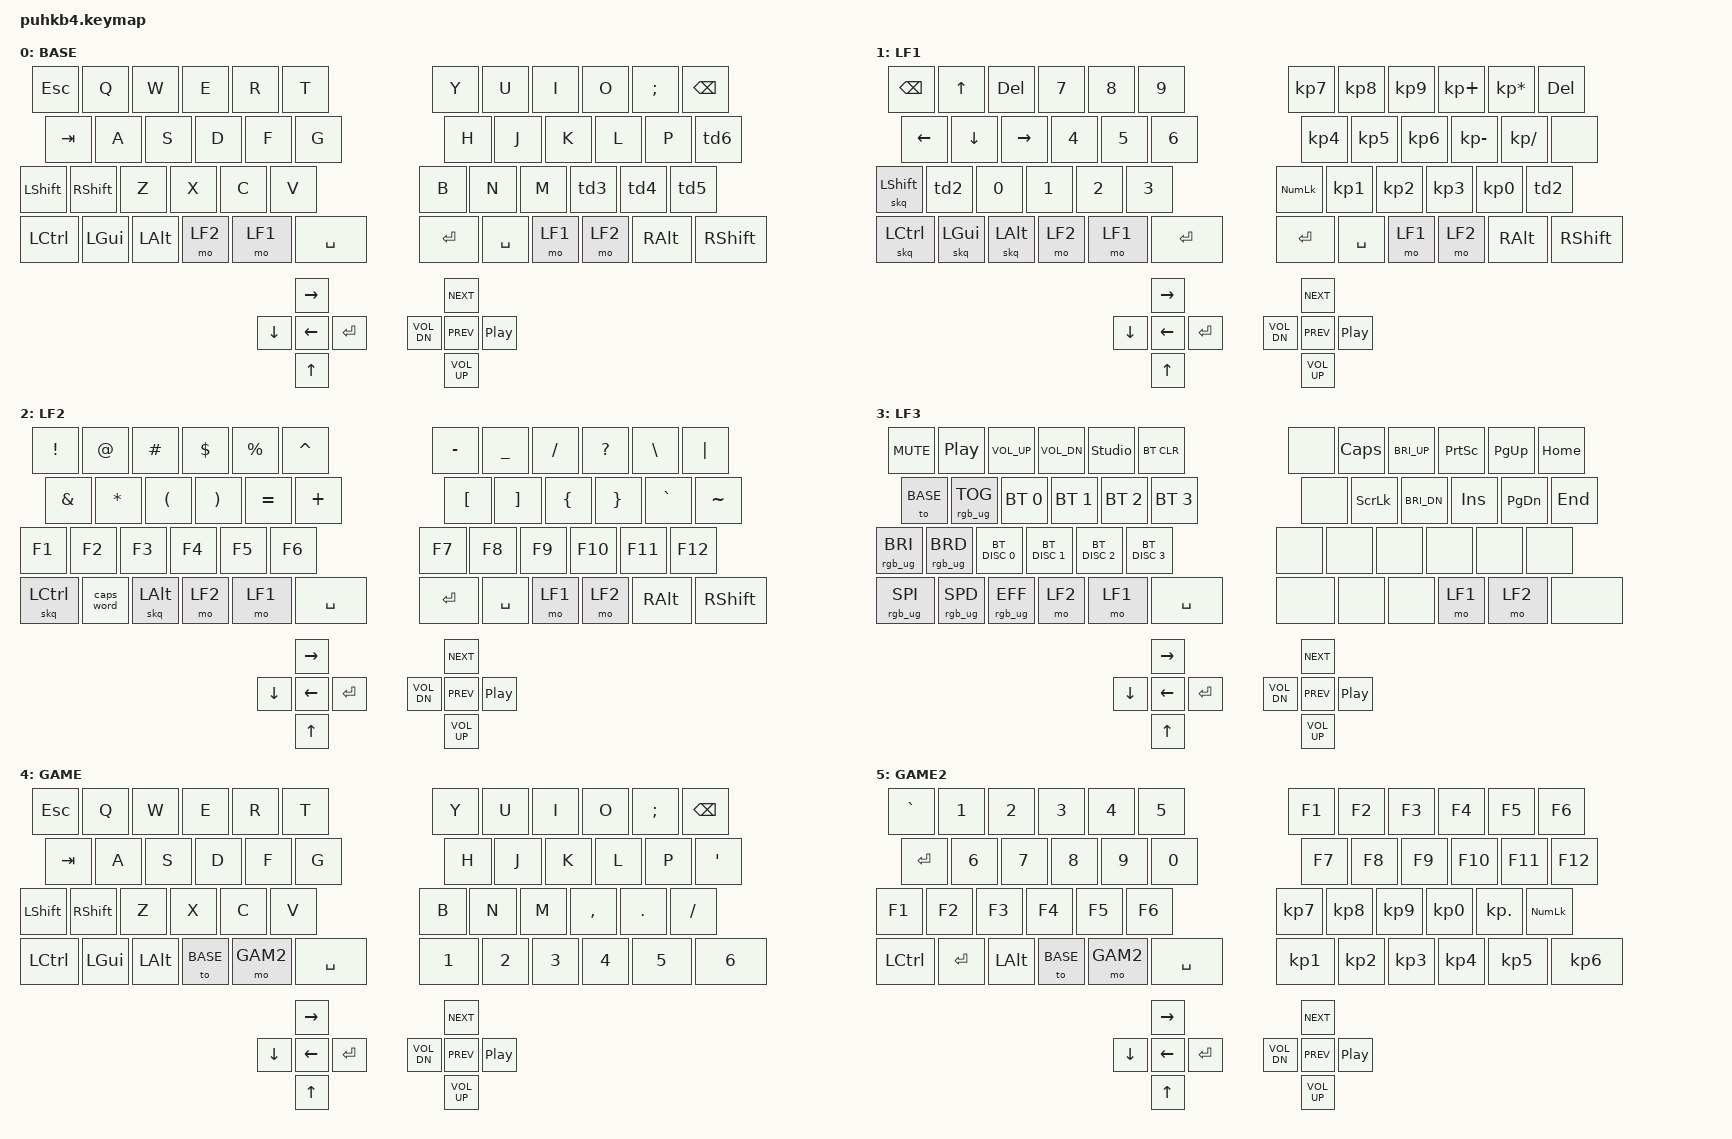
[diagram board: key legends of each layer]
/*
 * Copyright (c) 2020 The ZMK Contributors
 *
 * SPDX-License-Identifier: MIT
 */

#include <behaviors.dtsi>
#include <dt-bindings/zmk/keys.h>
#include <dt-bindings/zmk/bt.h>
#include <dt-bindings/zmk/outputs.h>
#include <dt-bindings/zmk/rgb.h>
#include <dt-bindings/zmk/ext_power.h>

&led_strip {
    chain-length = <23>;
};

#define BASE 0
#define LF1 1
#define LF2 2
#define LF3 3
#define LF4 4
#define RF1 5
#define RF2 6
#define RF3 7
#define RF4 8
#define GAM 9
#define GAM2 10

/ {

	conditional_layers {
		compatible = "zmk,conditional-layers";
		lf3_layer {
			if-layers = <LF1 LF2>;
			then-layer = <LF3>;
		};
		rf3_layer {
			if-layers = <RF1 RF2>;
			then-layer = <RF3>;
        };
    };
    
	behaviors {
		td0: tap_dance_0 {
            		compatible = "zmk,behavior-tap-dance";
            		#binding-cells = <0>;
			tapping-term-ms = <500>;
            		bindings = <&kp KP_PLUS>, <&kp KP_MULTIPLY>;
        	};
        td1: tap_dance_1 {
            		compatible = "zmk,behavior-tap-dance";
            		#binding-cells = <0>;
            		tapping-term-ms = <500>;
            		bindings = <&kp KP_MINUS>, <&kp KP_DIVIDE>;
        	};
		td2: tap_dance_2 {
            		compatible = "zmk,behavior-tap-dance";
            		#binding-cells = <0>;
            		tapping-term-ms = <500>;
            		bindings = <&kp KP_DOT>, <&kp COMMA>;
        	};
		td3: tap_dance_3 {
            		compatible = "zmk,behavior-tap-dance";
            		#binding-cells = <0>;
            		tapping-term-ms = <300>;
            		bindings = <&kp COMMA>, <&kp LBKT>;
        	};
		td4: tap_dance_4 {
            		compatible = "zmk,behavior-tap-dance";
            		#binding-cells = <0>;
            		tapping-term-ms = <300>;
            		bindings = <&kp DOT>, <&kp RBKT>;
        	};
		td5: tap_dance_5 {
            		compatible = "zmk,behavior-tap-dance";
            		#binding-cells = <0>;
            		tapping-term-ms = <300>;
            		bindings = <&kp FSLH>, <&kp BSLH>;
        	};
		td6: tap_dance_6 {
            		compatible = "zmk,behavior-tap-dance";
            		#binding-cells = <0>;
            		tapping-term-ms = <300>;
            		bindings = <&kp SQT>, <&kp GRAVE>;
        	};
        skq: sticky_key_quick_release {
        		compatible = "zmk,behavior-sticky-key";
        		#binding-cells = <1>;
        		bindings = <&kp>;
        		release-after-ms = <3000>;
        		quick-release;
        		ignore-modifiers;
      		};
    };
    
	keymap {
		compatible = "zmk,keymap";
        
		default_layer {
			display-name = "BASE";
// * BASE
// * |-------------------------------------------|       |-------------------------------------------|
// *   | ESC  |   Q  |   W  |   E  |   R  |   T  |         |   Y  |   U  |   I  |   O  |  ;:  | BSP  |
// * |---------------------------------------------|     |---------------------------------------------|
// *     | TAB  |   A  |   S  |   D  |   F  |   G  |         |   H  |   J  |   K  |   L  |  P   | '"`~ |
// * |---------------------------------------------|     |---------------------------------------------|
// * |LShift|RShift|   Z  |   X  |   C  |   V  |         |  B   |   N  |   M  | ,<[{ | .>]} | /?\| |
// * |-----------------------------------------|         |-----------------------------------------|
// * |LCTRL | LGUI | LAlt | LF2  | LF1  | SPC  |         |Enter |Space |  RF1 | RF2  | RAlt |RShift|
// * |-----------------------------------------|         |-----------------------------------------|
// * |xxxxxx| DOWN | RIGH | PUSH | LEFT | UP   |         |xxxxxx| VOL- | NEXT | PLAY | BACK | VOL+ |
// * |-----------------------------------------|         |-----------------------------------------|
// */
            bindings = <
&kp ESC   &kp Q     &kp W     &kp E    &kp R     &kp T       &kp Y     &kp U        &kp I      &kp O        &kp SEMI   &kp BSPC
&kp TAB   &kp A     &kp S     &kp D    &kp F     &kp G       &kp H     &kp J        &kp K      &kp L        &kp P      &td6
&kp LSHFT &kp RSHFT &kp Z     &kp X    &kp C     &kp V       &kp B     &kp N        &kp M      &td3         &td4       &td5
&kp LCTRL &kp LGUI  &kp LALT  &mo LF2  &mo LF1   &kp SPACE   &kp RET   &kp SPACE    &mo LF1    &mo LF2      &kp RALT   &kp RSHFT
          &kp UP    &kp RET   &kp LEFT &kp DOWN  &kp RIGHT             &kp C_VOL_UP &kp C_PP  &kp C_PREV &kp C_VOL_DN &kp C_NEXT
            >;
        };

		lf1_layer {
			display-name = "LF1";
// * LF1
// * |-------------------------------------------|       |-------------------------------------------|
// *   | BSP  |  UP  | DEL  |   7  |   8  |   9  |         |  N7  |  N8  |  N9  |  N+  |  N*  | DEL  |
// * |---------------------------------------------|     |---------------------------------------------|
// *     | LEF  |  DOW |  RIG |   4  |   5  |   6  |         |  N4  |  N5  |  N6  |  N-  |  N/  |xxxxxx|
// * |---------------------------------------------|     |---------------------------------------------|
// * |LShift|  TD2 |   0  |   1  |   2  |   3  |         |  NUM |  N1  |  N2  |  N3  |  N0  | TD2  |
// * |-----------------------------------------|         |-----------------------------------------|
// * |LCTRL | LGUI | LAlt | LF2  | LF1  | SPC  |         |Enter |Space |  RF1 | RF2  | RAlt |RShift|
// * |-----------------------------------------|         |-----------------------------------------|
// * |xxxxxx| DOWN | RIGH | PUSH | LEFT | UP   |         |xxxxxx| DOWN | RIGH | PUSH | LEFT | UP   |
// * |-----------------------------------------|         |-----------------------------------------|
// */
            bindings = <
&kp BSPC   &kp UP    &kp DEL   &kp N7   &kp N8   &kp N9      &kp KP_N7  &kp KP_N8    &kp KP_N9 &kp KP_PLUS  &kp KP_MULTIPLY &kp DEL
&kp LEFT   &kp DOWN  &kp RIGHT &kp N4   &kp N5   &kp N6      &kp KP_N4  &kp KP_N5    &kp KP_N6 &kp KP_MINUS &kp KP_DIVIDE   &none
&skq LSHFT &td2      &kp N0    &kp N1   &kp N2   &kp N3      &kp KP_NUM &kp KP_N1    &kp KP_N2 &kp KP_N3    &kp KP_N0       &td2
&skq LCTRL &skq LGUI &skq LALT &mo LF2  &mo LF1  &kp RET     &kp RET    &kp SPACE    &mo LF1   &mo LF2      &kp RALT        &kp RSHFT
           &kp UP    &kp RET   &kp LEFT &kp DOWN &kp RIGHT              &kp C_VOL_UP &kp C_PP  &kp C_PREV   &kp C_VOL_DN    &kp C_NEXT
            >;
        };
        
		lf2_layer {
			display-name = "LF2";
// * LF2
// * |-------------------------------------------|       |-------------------------------------------|
// *   |  !   |   @  |   #  |   $  |   %  |   ^  |         |   -  |   _  |   /  |   ?  |  \   |  |   |
// * |---------------------------------------------|     |---------------------------------------------|
// *     |  &   |   *  |   (  |   )  |   =  |   +  |         |   [  |   ]  |   {  |   }  |  `   |  ~   |
// * |---------------------------------------------|     |---------------------------------------------|
// * |  F1  |  F2  |  F3  |  F4  |  F5  |  F6  |         |  F7  |  F8  |  F9  |  F10 |  F11 |  F12 |
// * |-----------------------------------------|         |-----------------------------------------|
// * |LCTRL | CAPW | LAlt | LF2  | LF1  | SPC  |         |Enter |Space |  RF1 | RF2  | RAlt |RShift|
// * |-----------------------------------------|         |-----------------------------------------|
// * |xxxxxx| DOWN | RIGH | PUSH | LEFT | UP   |         |xxxxxx| DOWN | RIGH | PUSH | LEFT | UP   |
// * |-----------------------------------------|         |-----------------------------------------|
// */
            bindings = <
&kp EXCL   &kp AT     &kp HASH  &kp DLLR &kp PRCNT &kp CARET   &kp MINUS &kp UNDER    &kp FSLH &kp QMARK  &kp BSLH     &kp PIPE
&kp AMPS   &kp STAR   &kp LPAR  &kp RPAR &kp EQUAL &kp PLUS    &kp LBKT  &kp RBKT     &kp LBRC &kp RBRC   &kp GRAVE    &kp TILDE
&kp F1     &kp F2     &kp F3    &kp F4   &kp F5    &kp F6      &kp F7    &kp F8       &kp F9   &kp F10    &kp F11      &kp F12
&skq LCTRL &caps_word &skq LALT &mo LF2  &mo LF1   &kp SPACE   &kp RET   &kp SPACE    &mo LF1  &mo LF2    &kp RALT     &kp RSHFT
           &kp UP     &kp RET   &kp LEFT &kp DOWN  &kp RIGHT             &kp C_VOL_UP &kp C_PP &kp C_PREV &kp C_VOL_DN &kp C_NEXT
            >;
        };
        
		lf3_layer {
			display-name = "LF3";
// * LF3
// * |-------------------------------------------|       |-------------------------------------------|
// *   | MUTE | PLAY | VUP  | VDO  |SUNLO | BTCL |         |xxxxxx| CapL | BriU |  PS  |  PUP | Home |
// * |---------------------------------------------|     |---------------------------------------------|
// *     | BASE |RGBTOG| BTS0 | BTS1 | BTS2 | BTS3 |         |xxxxxx| ScrL | BriD | Ins  |  PDO |  End |
// * |---------------------------------------------|     |---------------------------------------------|
// * |RGBBRI|RGBBRD| BTD0 | BTD1 | BTD2 | BTD3 |         |xxxxxx|xxxxxx|xxxxxx|xxxxxx|xxxxxx|xxxxxx|
// * |-----------------------------------------|         |-----------------------------------------|
// * |RGBSPI|RGBSPD|RGBEFF| LF2  | LF1  | SPC  |         |Space |Space |  RF1 | RF2  |xxxxxx|xxxxxx|
// * |-----------------------------------------|         |-----------------------------------------|
// * |xxxxxx| DOWN | RIGH | PUSH | LEFT | UP   |         |xxxxxx| DOWN | RIGH | PUSH | LEFT | UP   |
// * |-----------------------------------------|         |-----------------------------------------|
// */
            bindings = <
&kp C_MUTE      &kp C_PP        &kp C_VOL_UP    &kp C_VOL_DN  &studio_unlock &bt BT_CLR      &none     &kp CAPS &kp C_BRI_UP &kp PSCRN  &kp PG_UP    &kp HOME
&to BASE        &rgb_ug RGB_TOG &bt BT_SEL 0    &bt BT_SEL 1  &bt BT_SEL 2   &bt BT_SEL 3    &none     &kp SLCK &kp C_BRI_DN &kp INS    &kp PG_DN    &kp END
&rgb_ug RGB_BRI &rgb_ug RGB_BRD &bt BT_DISC 0   &bt BT_DISC 1 &bt BT_DISC 2  &bt BT_DISC 3   &none     &none        &none    &none      &none        &none
&rgb_ug RGB_SPI &rgb_ug RGB_SPD &rgb_ug RGB_EFF &mo LF2       &mo LF1        &kp SPACE       &none     &none        &none    &mo LF1    &mo LF2      &none
                &kp UP          &kp RET         &kp LEFT      &kp DOWN       &kp RIGHT                 &kp C_VOL_UP &kp C_PP &kp C_PREV &kp C_VOL_DN &kp C_NEXT
            >;
        };
		
		gam_layer {
			display-name = "GAME";
// * GAME
// * |-------------------------------------------|       |-------------------------------------------|
// *   | ESC  |   Q  |   W  |   E  |   R  |   T  |         |   Y  |   U  |   I  |   O  |  ;:  | BSP  |
// * |---------------------------------------------|     |---------------------------------------------|
// *     | TAB  |   A  |   S  |   D  |   F  |   G  |         |   H  |   J  |   K  |   L  |  P   |  '"  |
// * |---------------------------------------------|     |---------------------------------------------|
// * |LShift|RShift|   Z  |   X  |   C  |   V  |         |  B   |   N  |   M  |  ,<  |  .>  |  /?  |
// * |-----------------------------------------|         |-----------------------------------------|
// * |LCTRL | RET  | LAlt | BASE | GAM2 | SPC  |         |  1   |  2   |  3   |  4   |  5   |  6   |
// * |-----------------------------------------|         |-----------------------------------------|
// * |xxxxxx| DOWN | RIGH | PUSH | LEFT | UP   |         |xxxxxx| VOL- | NEXT | PLAY | BACK | VOL+ |
// * |-----------------------------------------|         |-----------------------------------------|
// */
            bindings = <
&kp ESC   &kp Q     &kp W     &kp E    &kp R     &kp T       &kp Y     &kp U        &kp I      &kp O        &kp SEMI     &kp BSPC
&kp TAB   &kp A     &kp S     &kp D    &kp F     &kp G       &kp H     &kp J        &kp K      &kp L        &kp P        &kp SQT
&kp LSHFT &kp RSHFT &kp Z     &kp X    &kp C     &kp V       &kp B     &kp N        &kp M      &kp COMMA    &kp DOT      &kp FSLH
&kp LCTRL &kp LGUI  &kp LALT  &to BASE &mo GAM2  &kp SPACE   &kp N1    &kp N2       &kp N3     &kp N4       &kp N5       &kp N6
          &kp UP    &kp RET   &kp LEFT &kp DOWN  &kp RIGHT             &kp C_VOL_UP &kp C_PP   &kp C_PREV   &kp C_VOL_DN &kp C_NEXT    
            >;
        };
		
		gam2_layer {
			display-name = "GAME2";
// * GAME2
// * |-------------------------------------------|       |-------------------------------------------|
// *   | GRAVE|   1  |   2  |   3  |  4   |   5  |         |  F7  |  F8  |  F9  |  F10 |  F11 |  F12 |
// * |---------------------------------------------|     |---------------------------------------------|
// *     | RET  |   6  |   7  |   8  |   9  |   0  |         |  F1  |  F2  |  F3  |  F4  |  F5  |  F6  |
// * |---------------------------------------------|     |---------------------------------------------|
// * |  F1  |  F2  |  F3  |  F4  |  F5  |  F6  |         |  N7  |  N8  |  N9  |  N0  |  .   | NUM  |
// * |-----------------------------------------|         |-----------------------------------------|
// * |LCTRL | RET  | LAlt | BASE | GAM2 | SPC  |         |  N1  |  N2  |  N3  |  N4  |  N5  |  N6  |
// * |-----------------------------------------|         |-----------------------------------------|
// * |xxxxxx| DOWN | RIGH | PUSH | LEFT | UP   |         |xxxxxx| VOL- | NEXT | PLAY | BACK | VOL+ |
// * |-----------------------------------------|         |-----------------------------------------|
// */
            bindings = <
&kp GRAVE &kp N1    &kp N2    &kp N3   &kp N4    &kp N5      &kp F1    &kp F2       &kp F3     &kp F4       &kp F5       &kp F6
&kp RET   &kp N6    &kp N7    &kp N8   &kp N9    &kp N0      &kp F7    &kp F8       &kp F9     &kp F10      &kp F11      &kp F12
&kp F1    &kp F2    &kp F3    &kp F4   &kp F5    &kp F6      &kp KP_N7 &kp KP_N8    &kp KP_N9  &kp KP_N0    &kp KP_DOT   &kp KP_NUM
&kp LCTRL &kp RET   &kp LALT  &to BASE &mo GAM2  &kp SPACE   &kp KP_N1 &kp KP_N2    &kp KP_N3  &kp KP_N4    &kp KP_N5    &kp KP_N6
          &kp UP    &kp RET   &kp LEFT &kp DOWN  &kp RIGHT             &kp C_VOL_UP &kp C_PP   &kp C_PREV   &kp C_VOL_DN &kp C_NEXT
            >;
        };
        
        extra1 {
            status = "reserved";
        };

        extra2 {
            status = "reserved";
        };
    };
};
